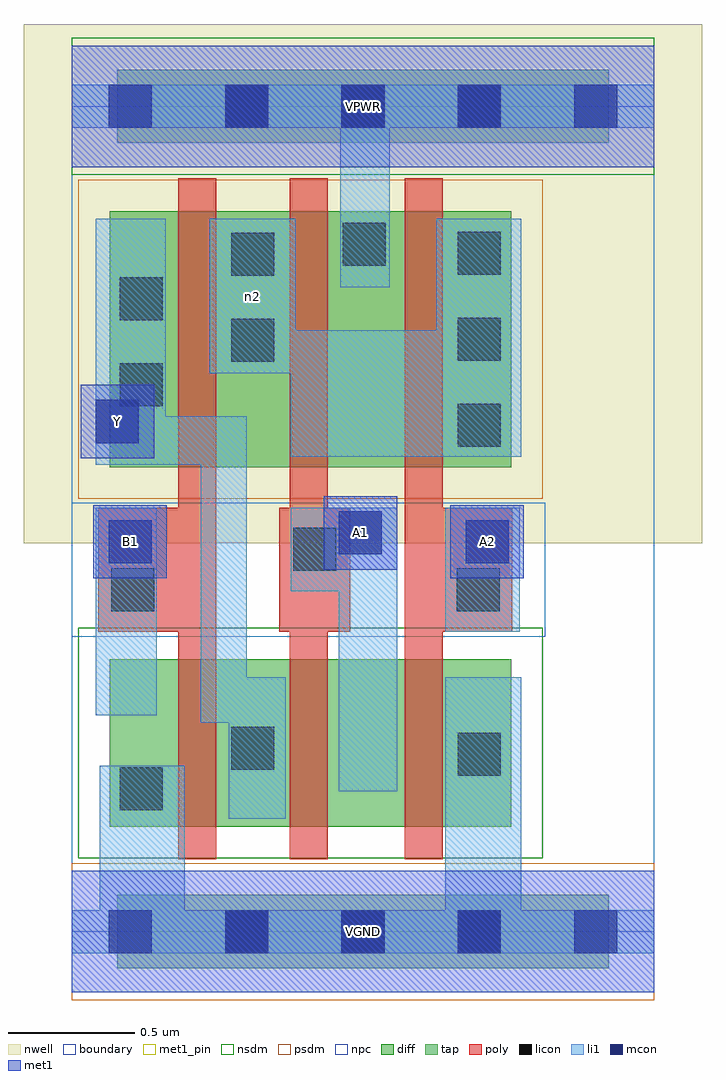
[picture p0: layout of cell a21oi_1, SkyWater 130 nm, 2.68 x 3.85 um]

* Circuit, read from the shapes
.subckt a21oi_1 A1 A2 B1 VGND VPWR Y n2
XM1 Y B1 VGND VGND sky130_fd_pr__nfet_01v8 w=0.66 l=0.15
XM2 n1 A1 Y VGND sky130_fd_pr__nfet_01v8 w=0.66 l=0.15
XM3 VGND A2 n1 VGND sky130_fd_pr__nfet_01v8 w=0.66 l=0.15
XM4 n2 B1 Y VPWR sky130_fd_pr__pfet_01v8 w=1.01 l=0.15
XM5 VPWR A1 n2 VPWR sky130_fd_pr__pfet_01v8 w=1.01 l=0.15
XM6 n2 A2 VPWR VPWR sky130_fd_pr__pfet_01v8 w=1.01 l=0.15
.ends

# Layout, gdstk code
import gdstk
lib = gdstk.Library(unit=1e-6, precision=1e-09)
def R(c, l, rs):  # rectangles x0, y0, x1, y1
    for r in rs: c.add(gdstk.rectangle(r[:2], r[2:], *l))
def A(c, l, x, y, w, h, nx, ny, dx, dy):  # array of equal rectangles
    R(c, l, [(x+i*dx, y+j*dy, x+i*dx+w, y+j*dy+h) for i in range(nx) for j in range(ny)])
nwell = (64, 20)
diff = (65, 20)
tap = (65, 44)
poly = (66, 20)
licon = (66, 44)
li1 = (67, 20)
mcon = (67, 44)
met1_pin = (68, 16)
met1 = (68, 20)
nsdm = (93, 44)
psdm = (94, 20)
npc = (95, 20)
boundary = (235, 4)

a21oi_1 = lib.new_cell('a21oi_1')
R(a21oi_1, nwell, [(-0.19,1.535,2.49,3.585), (0,1.535,2.3,3.585)])
R(a21oi_1, diff, [(0.15,0.415,1.735,1.075), (0.15,1.835,1.735,2.845)])
R(a21oi_1, tap, [(0.18,-0.145,2.12,0.145), (0.18,3.115,2.12,3.405)])
R(a21oi_1, poly, [(0.42,0.285,0.57,2.975), (0.86,0.285,1.01,2.975), (1.315,0.285,1.465,2.975), (0.105,1.185,0.57,1.675), (0.82,1.185,1.1,1.675), (1.315,1.185,1.74,1.675)])
A(a21oi_1, licon, 0.605, -0.085, 0.17, 0.17, 3, 2, 0.46, 3.26)
A(a21oi_1, licon, 1.525, 1.915, 0.17, 0.17, 1, 3, 0, 0.34)
R(a21oi_1, licon, [(0.19,0.48,0.36,0.65), (1.525,0.615,1.695,0.785), (0.63,0.64,0.8,0.81), (0.155,1.265,0.325,1.435), (1.52,1.265,1.69,1.435), (0.875,1.425,1.045,1.595), (0.19,2.075,0.36,2.245), (0.63,2.25,0.8,2.42), (0.19,2.415,0.36,2.585), (0.63,2.59,0.8,2.76), (1.07,2.63,1.24,2.8)])
R(a21oi_1, li1, [(0,-0.085,2.3,0.085), (0.11,-0.085,0.445,0.655), (1.475,-0.085,1.775,1.005), (0.62,0.445,0.845,1.005), (1.055,0.555,1.285,1.675), (0.51,0.825,0.69,2.035), (0.095,0.855,0.335,1.675), (1.475,1.185,1.77,1.675), (0.865,1.345,1.285,1.675), (0.095,1.845,0.37,2.815), (0.095,1.845,0.69,2.035), (0.865,1.875,1.775,2.375), (1.44,1.875,1.775,2.815), (0.545,2.205,0.885,2.815), (1.06,2.545,1.255,3.345), (0,3.175,2.3,3.345)])
A(a21oi_1, mcon, 0.145, -0.085, 0.17, 0.17, 5, 2, 0.46, 3.26)
R(a21oi_1, mcon, [(0.145,1.455,0.315,1.625), (1.555,1.455,1.725,1.625), (1.055,1.49,1.225,1.66), (0.095,1.93,0.265,2.1)])
R(a21oi_1, met1_pin, [(0,-0.24,2.3,0.24), (0.085,1.395,0.375,1.685), (1.495,1.395,1.785,1.685), (0.995,1.43,1.285,1.72), (0.035,1.87,0.325,2.16), (0,3.02,2.3,3.5)])
R(a21oi_1, met1, [(0,-0.24,2.3,0.24), (0.085,1.395,0.375,1.685), (1.495,1.395,1.785,1.685), (0.995,1.43,1.285,1.72), (0.035,1.87,0.325,2.16), (0,3.02,2.3,3.5)])
R(a21oi_1, nsdm, [(0.025,0.29,1.86,1.2), (0,2.99,2.3,3.53)])
R(a21oi_1, psdm, [(0,-0.27,2.3,0.27), (0.025,1.71,1.86,2.97)])
R(a21oi_1, npc, [(0,1.165,1.87,1.695)])
R(a21oi_1, boundary, [(0,0,2.3,3.26)])
a21oi_1.add(gdstk.Label('n2', (0.715,2.51), layer=67, texttype=5))
a21oi_1.add(gdstk.Label('A1', (1.14,1.575), layer=68, texttype=5))
a21oi_1.add(gdstk.Label('A2', (1.64,1.54), layer=68, texttype=5))
a21oi_1.add(gdstk.Label('B1', (0.23,1.54), layer=68, texttype=5))
a21oi_1.add(gdstk.Label('Y', (0.18,2.015), layer=68, texttype=5))
a21oi_1.add(gdstk.Label('VPWR', (1.15,3.26), layer=68, texttype=5))
a21oi_1.add(gdstk.Label('VGND', (1.15,0), layer=68, texttype=5))
a21oi_1.add(gdstk.Label('A1', (1.14,1.575), layer=68, texttype=16))
a21oi_1.add(gdstk.Label('A2', (1.64,1.54), layer=68, texttype=16))
a21oi_1.add(gdstk.Label('B1', (0.23,1.54), layer=68, texttype=16))
a21oi_1.add(gdstk.Label('Y', (0.18,2.015), layer=68, texttype=16))
a21oi_1.add(gdstk.Label('VPWR', (1.15,3.26), layer=68, texttype=16))
a21oi_1.add(gdstk.Label('VGND', (1.15,0), layer=68, texttype=16))

lib.write_gds('a21oi_1.gds')
